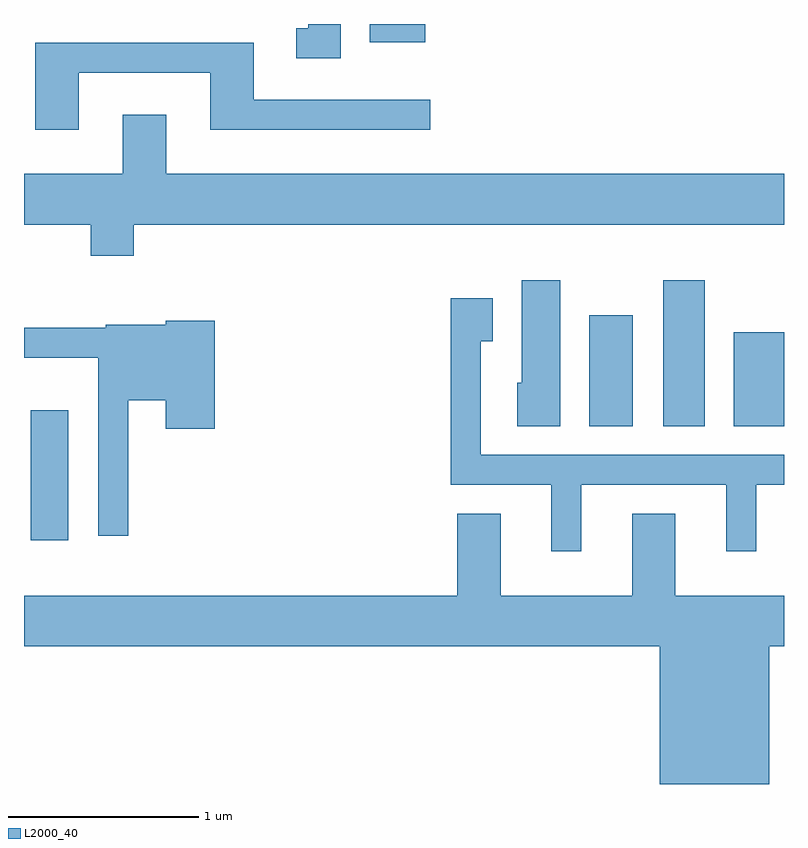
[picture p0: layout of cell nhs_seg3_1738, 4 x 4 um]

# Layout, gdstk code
import gdstk
lib = gdstk.Library(unit=1e-6, precision=1e-09)
def R(c, l, rs):  # rectangles x0, y0, x1, y1
    for r in rs: c.add(gdstk.rectangle(r[:2], r[2:], *l))
def P(c, l, *ps):  # polygons
    for p in ps: c.add(gdstk.Polygon(p, *l))
L2000_40 = (2000, 40)

nhs_seg3_1738 = lib.new_cell('nhs_seg3_1738')
R(nhs_seg3_1738, L2000_40, [(235.646,1193.176,235.844,1193.859), (238.586,1193.776,238.814,1194.359), (238.976,1193.776,239.194,1194.544), (239.346,1193.776,239.611,1194.269), (237.431,1195.796,237.724,1195.892)])
P(nhs_seg3_1738, L2000_40, [(237.279,1195.892),(237.106,1195.892),(237.106,1195.869),(237.043,1195.869),(237.043,1195.711),(237.279,1195.711)],
  [(235.899,1195.636),(236.591,1195.636),(236.591,1195.336),(237.748,1195.336),(237.748,1195.494),(236.819,1195.494),(236.819,1195.794),(235.671,1195.794),(235.671,1195.336),(235.899,1195.336)],
  [(236.189,1194.836),(239.611,1194.836),(239.611,1195.104),(236.359,1195.104),(236.359,1195.414),(236.131,1195.414),(236.131,1195.104),(235.611,1195.104),(235.611,1194.836),(235.961,1194.836),(235.961,1194.671),(236.189,1194.671)],
  [(238.434,1194.544),(238.231,1194.544),(238.231,1194.004),(238.206,1194.004),(238.206,1193.776),(238.434,1193.776)],
  [(238.544,1193.466),(239.306,1193.466),(239.306,1193.118),(239.464,1193.118),(239.464,1193.466),(239.611,1193.466),(239.611,1193.624),(238.014,1193.624),(238.014,1194.221),(238.079,1194.221),(238.079,1194.449),(237.856,1194.449),(237.856,1193.466),(238.386,1193.466),(238.386,1193.118),(238.544,1193.118)],
  [(236.159,1193.911),(236.356,1193.911),(236.356,1193.761),(236.614,1193.761),(236.614,1194.329),(236.356,1194.329),(236.356,1194.309),(236.04,1194.309),(236.04,1194.294),(235.611,1194.294),(235.611,1194.136),(236.001,1194.136),(236.001,1193.198),(236.159,1193.198)],
  [(239.534,1192.616),(239.611,1192.616),(239.611,1192.884),(239.039,1192.884),(239.039,1193.314),(238.811,1193.314),(238.811,1192.884),(238.119,1192.884),(238.119,1193.314),(237.891,1193.314),(237.891,1192.884),(235.611,1192.884),(235.611,1192.616),(238.956,1192.616),(238.956,1191.892),(239.534,1191.892)])

lib.write_gds('nhs_seg3_1738.gds')
